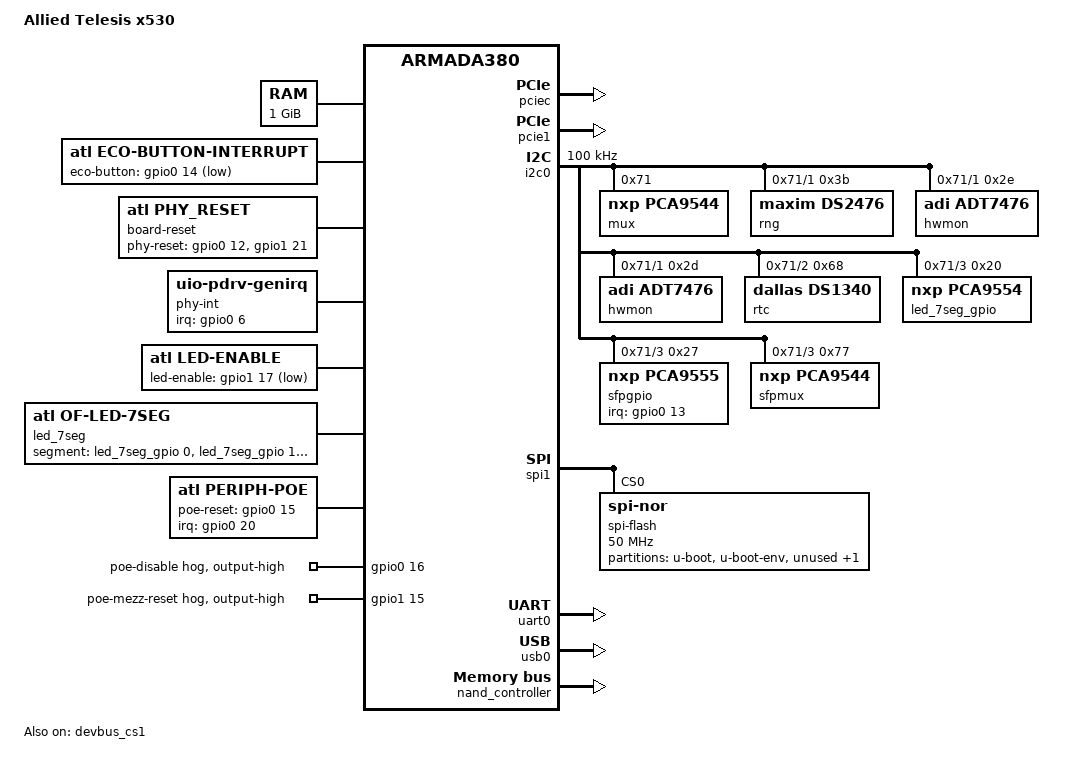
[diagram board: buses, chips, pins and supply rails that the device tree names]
// SPDX-License-Identifier: GPL-2.0

#include <dt-bindings/gpio/gpio.h>
#include "armada-385.dtsi"

/ {
	model = "Allied Telesis x530";
	compatible = "alliedtelesis,x530", "marvell,armada385", "marvell,armada380";

	chosen {
		stdout-path = "serial0:115200n8";
		bootargs = "console=ttyS0,115200 earlyprintk";
	};

	aliases {
		spi1 = &spi1;
		i2c0 = &i2c0;
	};

	memory {
		device_type = "memory";
		reg = <0 0x00000000 0 0x40000000>; /* 1 GB */
	};

	soc {
		ranges = <MBUS_ID(0xf0, 0x01) 0 0xf1000000 0x100000
			  MBUS_ID(0x01, 0x3d) 0 0xf4800000 0x80000
			  MBUS_ID(0x01, 0x1d) 0 0xfff00000 0x100000>;

		pcie-mem-aperture = <0xa0000000 0x40000000>;
	};

	eco-button-interrupt {
		compatible = "atl,eco-button-interrupt";
		eco-button-gpio = <&gpio0 14 GPIO_ACTIVE_LOW>;
	};

	board-reset {
		compatible = "atl,phy_reset";
		/* Physical board layout of reset pin is active-low but for the
		 * current driver we have to set it to active-high here.
		 */
		phy-reset-gpio = <&gpio0 12 GPIO_ACTIVE_HIGH>,
				 <&gpio1 21 GPIO_ACTIVE_HIGH>;
	};

	phy-int {
		compatible = "linux,uio-pdrv-genirq";
		interrupt-parent = <&gpio0>;
		interrupts = <6 IRQ_TYPE_EDGE_BOTH>;
	};

	led-enable {
		compatible = "atl,led-enable";
		led-enable-gpios = <&gpio1 17 GPIO_ACTIVE_LOW>;
	};

	led_7seg {
		compatible = "atl,of-led-7seg";
		segment-gpios = <
			&led_7seg_gpio 0 0
			&led_7seg_gpio 1 0
			&led_7seg_gpio 2 0
			&led_7seg_gpio 3 0
			&led_7seg_gpio 4 0
			&led_7seg_gpio 5 0
			&led_7seg_gpio 6 0
			&led_7seg_gpio 7 0>;
	};

	poe {
		compatible = "atl,periph-poe";
		poe-reset-gpio = <&gpio0 15 GPIO_ACTIVE_HIGH>;
		interrupt-parent = <&gpio0>;
		interrupts = <20 IRQ_TYPE_EDGE_BOTH>;
	};
};

&pciec {
	status = "okay";
};

&pcie1 {
	status = "okay";
};

&devbus_cs1 {
	compatible = "marvell,mvebu-devbus";
	status = "okay";

	devbus,bus-width    = <8>;
	devbus,turn-off-ps  = <60000>;
	devbus,badr-skew-ps = <0>;
	devbus,acc-first-ps = <124000>;
	devbus,acc-next-ps  = <248000>;
	devbus,rd-setup-ps  = <0>;
	devbus,rd-hold-ps   = <0>;

	/* Write parameters */
	devbus,sync-enable = <0>;
	devbus,wr-high-ps  = <60000>;
	devbus,wr-low-ps   = <60000>;
	devbus,ale-wr-ps   = <60000>;

	nvs@0 {
		status = "okay";

		compatible = "mtd-ram";
		reg = <0 0x00080000>;
		bank-width = <1>;
		label = "nvs";
	};
};

&gpio0 {
	poe-disable {
		gpio-hog;
		gpios = <16 GPIO_ACTIVE_HIGH>;
		output-high;
		line-name = "poe-disable";
	};
};

&gpio1 {
	poe-mezz-reset {
		gpio-hog;
		gpios = <15 GPIO_ACTIVE_HIGH>;
		output-high;
		line-name = "poe-mezz-reset";
	};
};

&i2c0 {
	clock-frequency = <100000>;
	status = "okay";

	mux@71 {
		#address-cells = <1>;
		#size-cells = <0>;
		compatible = "nxp,pca9544";
		reg = <0x71>;
		i2c-mux-idle-disconnect;

		i2c@0 { /* POE devices MUX */
			#address-cells = <1>;
			#size-cells = <0>;
			reg = <0>;
		};

		i2c@1 {
			#address-cells = <1>;
			#size-cells = <0>;
			reg = <1>;

			rng@3b {
				compatible = "maxim,ds2476";
				reg = <0x3b>;
			};

			hwmon@2e {
				compatible = "adi,adt7476";
				reg = <0x2e>;
			};

			hwmon@2d {
				compatible = "adi,adt7476";
				reg = <0x2d>;
			};

		};

		i2c@2 {
			#address-cells = <1>;
			#size-cells = <0>;
			reg = <2>;

			rtc@68 {
				compatible = "dallas,ds1340";
				reg = <0x68>;
			};
		};

		i2c@3 {
			#address-cells = <1>;
			#size-cells = <0>;
			reg = <3>;

			led_7seg_gpio: gpio@20 {
				compatible = "nxp,pca9554";
				gpio-controller;
				#gpio-cells = <2>;
				reg = <0x20>;
			};

			sfpgpio: gpio@27 { /* I2C to GPIO */
				compatible = "nxp,pca9555";
				gpio-controller;
				#gpio-cells = <2>;
				reg = <0x27>;
				interrupt-parent = <&gpio0>;
				interrupts = <13 IRQ_TYPE_LEVEL_LOW>;
			};

			sfpmux: mux@77 { /* SFP I2C MUX */
				#address-cells = <1>;
				#size-cells = <0>;
				compatible = "nxp,pca9544";
				reg = <0x77>;
				i2c-mux-idle-disconnect;
			};
		};
	};
};

&spi1 {
	status = "okay";

	spi-flash@0 {
		#address-cells = <1>;
		#size-cells = <1>;
		compatible = "jedec,spi-nor";
		reg = <0>; /* Chip select 0 */
		spi-max-frequency = <50000000>;
		m25p,fast-read;

		partition@u-boot {
			reg = <0x00000000 0x00100000>;
			label = "u-boot";
		};
		partition@u-boot-env {
			reg = <0x00100000 0x00040000>;
			label = "u-boot-env";
		};
		partition@unused {
			reg = <0x00140000 0x00e80000>;
			label = "unused";
		};
		partition@idprom {
			reg = <0x00fc0000 0x00040000>;
			label = "idprom";
		};
	};
};

&uart0 {
	pinctrl-names = "default";
	pinctrl-0 = <&uart0_pins>;
	status = "okay";
};

&usb0 {
	status = "okay";
};

&refclk {
	clock-frequency = <25000000>;
};

&nand_controller { /* 256 MB */
	status = "okay";
	num-cs = <1>;
	nand-ecc-strength = <4>;
	nand-ecc-step-size = <512>;
	marvell,nand-enable-arbiter;
	nand-on-flash-bbt;
};
